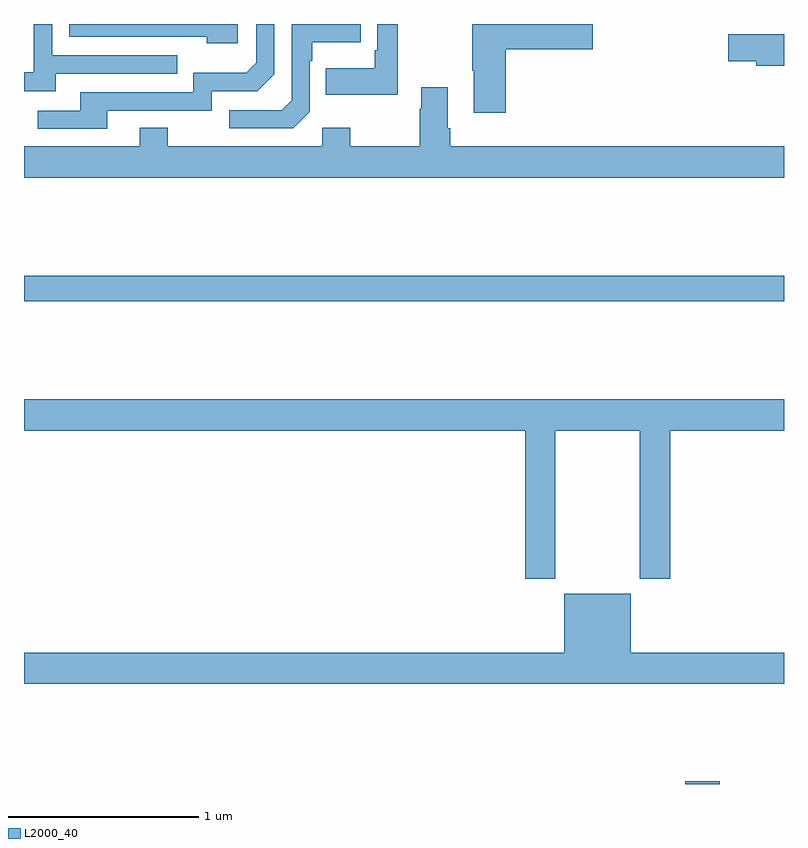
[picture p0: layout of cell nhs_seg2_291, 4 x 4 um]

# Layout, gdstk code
import gdstk
lib = gdstk.Library(unit=1e-6, precision=1e-09)
def R(c, l, rs):  # rectangles x0, y0, x1, y1
    for r in rs: c.add(gdstk.rectangle(r[:2], r[2:], *l))
def P(c, l, *ps):  # polygons
    for p in ps: c.add(gdstk.Polygon(p, *l))
L2000_40 = (2000, 40)

nhs_seg2_291 = lib.new_cell('nhs_seg2_291')
R(nhs_seg2_291, L2000_40, [(128.48,621.8,128.663,621.814), (125,624.34,129,624.476)])
P(nhs_seg2_291, L2000_40, [(126.124,625.8),(125.238,625.8),(125.238,625.734),(125.963,625.734),(125.963,625.7),(126.124,625.7)],
  [(126.967,625.8),(126.858,625.8),(126.858,625.663),(126.846,625.663),(126.846,625.567),(126.589,625.567),(126.589,625.427),(126.967,625.427)],
  [(125.437,625.344),(125.988,625.344),(125.988,625.446),(126.228,625.446),(126.318,625.536),(126.318,625.8),(126.222,625.8),(126.222,625.596),(126.169,625.543),(125.892,625.543),(125.892,625.44),(125.297,625.44),(125.297,625.344),(125.073,625.344),(125.073,625.248),(125.437,625.248)],
  [(126.504,625.338),(126.504,625.607),(126.517,625.607),(126.517,625.703),(126.773,625.703),(126.773,625.8),(126.408,625.8),(126.408,625.398),(126.357,625.347),(126.081,625.347),(126.081,625.251),(126.417,625.251)],
  [(125.167,625.539),(125.807,625.539),(125.807,625.635),(125.148,625.635),(125.148,625.8),(125.052,625.8),(125.052,625.545),(125,625.545),(125,625.445),(125.167,625.445)],
  [(127.535,625.667),(127.993,625.667),(127.993,625.8),(127.36,625.8),(127.36,625.555),(127.367,625.555),(127.367,625.332),(127.535,625.332)],
  [(129,625.745),(128.706,625.745),(128.706,625.603),(128.855,625.603),(128.855,625.579),(129,625.579)],
  [(129,625.156),(127.244,625.156),(127.244,625.252),(127.231,625.252),(127.231,625.468),(127.091,625.468),(127.091,625.355),(127.084,625.355),(127.084,625.156),(126.717,625.156),(126.717,625.255),(126.57,625.255),(126.57,625.156),(125.757,625.156),(125.757,625.255),(125.609,625.255),(125.609,625.156),(125,625.156),(125,624.992),(129,624.992)],
  [(127.797,623.66),(128.242,623.66),(128.242,622.881),(128.402,622.881),(128.402,623.66),(129,623.66),(129,623.824),(125,623.824),(125,623.66),(127.637,623.66),(127.637,622.881),(127.797,622.881)],
  [(129,622.492),(128.194,622.492),(128.194,622.801),(127.844,622.801),(127.844,622.492),(125,622.492),(125,622.328),(129,622.328)])

lib.write_gds('nhs_seg2_291.gds')
